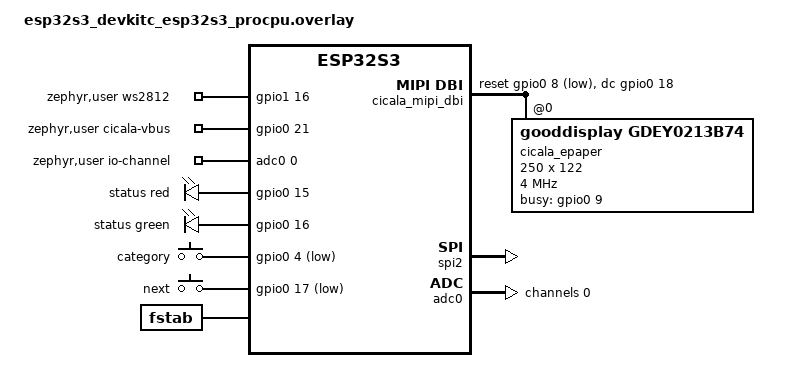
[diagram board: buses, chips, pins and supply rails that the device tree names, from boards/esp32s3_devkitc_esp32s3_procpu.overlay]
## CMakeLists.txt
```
cmake_minimum_required(VERSION 3.20.0)

find_package(Zephyr REQUIRED HINTS $ENV{ZEPHYR_BASE})
project(cicala LANGUAGES C CXX)

# The languages the image carries.
set(CICALA_CORPUS_LANGUAGES en de)

# Shared, host-testable logic.
add_subdirectory(${CMAKE_CURRENT_SOURCE_DIR}/../lib/fsm cicala_fsm)
add_subdirectory(${CMAKE_CURRENT_SOURCE_DIR}/../lib/app_fsm cicala_app_fsm)
add_subdirectory(${CMAKE_CURRENT_SOURCE_DIR}/../lib/qdb cicala_qdb)
add_subdirectory(${CMAKE_CURRENT_SOURCE_DIR}/../lib/layout cicala_layout)
add_subdirectory(${CMAKE_CURRENT_SOURCE_DIR}/../lib/retained cicala_retained)
add_subdirectory(${CMAKE_CURRENT_SOURCE_DIR}/../lib/portal cicala_portal)
add_subdirectory(${CMAKE_CURRENT_SOURCE_DIR}/../lib/ed25519 cicala_ed25519)
add_subdirectory(${CMAKE_CURRENT_SOURCE_DIR}/../lib/sync cicala_sync)
add_subdirectory(${CMAKE_CURRENT_SOURCE_DIR}/../lib/power cicala_power)
add_subdirectory(${CMAKE_CURRENT_SOURCE_DIR}/../lib/status cicala_status)

# zbus observer macros require C designated initializers.
target_sources(app PRIVATE
    src/app.c
    src/app_logic.cpp
    src/channels.c
    src/corpus.c
    src/display.c
    src/input.c
    src/language.c
    src/main.c
    src/panel.cpp
    src/retained_block.cpp
    src/update_notice.c
)

# Soak images generate their own Next presses.
target_sources_ifdef(CONFIG_CICALA_DEBUG_SOAK app PRIVATE src/soak.c)

target_sources_ifdef(CONFIG_FILE_SYSTEM_LITTLEFS app PRIVATE src/corpus_store.c)
target_sources_ifdef(CONFIG_CICALA_SLEEP app PRIVATE src/sleep.c)
target_sources_ifdef(CONFIG_CICALA_REV_A app PRIVATE src/board_power.c)
target_sources_ifdef(CONFIG_CICALA_NET app PRIVATE src/net.c src/net_logic.cpp src/portal.c)

target_sources_ifdef(CONFIG_CICALA_POWER app PRIVATE src/power.c src/power_logic.cpp)
target_sources_ifdef(CONFIG_CICALA_STATUS_LED app PRIVATE src/status.c src/status_logic.cpp)

# Bundle and firmware downloads share one HTTP client.
target_sources_ifdef(CONFIG_CICALA_SYNC app PRIVATE src/fetch.c src/sync.cpp ${CMAKE_CURRENT_SOURCE_DIR}/../../core/src/bundle.cpp)
target_sources_ifdef(CONFIG_CICALA_OTA app PRIVATE src/ota.cpp)

# HTTP_RESOURCE_DEFINE lands each resource in a section named after its service.
if(CONFIG_CICALA_NET)
  zephyr_linker_sources(SECTIONS sections-rom.ld)
  zephyr_linker_section(NAME http_resource_desc_cicala_portal KVMA RAM_REGION GROUP RODATA_REGION)
endif()

# Include the committed bundle-signing public key.
target_include_directories(app PRIVATE include ${CMAKE_CURRENT_SOURCE_DIR}/../components/sync)

# Link libraries added after Zephyr's library discovery pass.
target_link_libraries(app PRIVATE cicala_fsm cicala_app_fsm cicala_qdb cicala_layout cicala_portal cicala_ed25519
    cicala_sync cicala_retained cicala_power cicala_status)

# Compile shipped corpora into the offline fallback image.
set(shipped ${CMAKE_CURRENT_SOURCE_DIR}/../../dist/corpus)

foreach(lang ${CICALA_CORPUS_LANGUAGES})
  if(NOT EXISTS ${shipped}/${lang}.qdb)
    message(FATAL_ERROR
      "missing ${shipped}/${lang}.qdb — run `just fw-build`")
  endif()

  generate_inc_file_for_target(app
    ${shipped}/${lang}.qdb
    ${ZEPHYR_BINARY_DIR}/include/generated/${lang}_qdb.inc)
endforeach()
```

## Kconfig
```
# Application and tests share ../Kconfig.policy.

mainmenu "cicala"

rsource "../Kconfig.policy"

source "Kconfig.zephyr"
```

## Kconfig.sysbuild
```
# APP_DIR gives the application and MCUboot one absolute signing-key path.
# Define this before the upstream symbol because its first default wins.

config BOOT_SIGNATURE_KEY_FILE
	default "$(APP_DIR)/../keys/firmware-signing-dev.pem" if BOOT_SIGNATURE_TYPE_ED25519

source "share/sysbuild/Kconfig"
```

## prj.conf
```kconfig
# Base application configuration, shared by every board.

CONFIG_CPP=y
CONFIG_STD_CPP17=y
CONFIG_CPP_EXCEPTIONS=n
CONFIG_CPP_RTTI=n
CONFIG_REQUIRES_FULL_LIBCPP=n

CONFIG_LOG=y
CONFIG_LOG_MODE_DEFERRED=y
CONFIG_LOG_BUFFER_SIZE=2048

# Deferred logging measured 912 bytes against the 1024-byte default.
CONFIG_LOG_PROCESS_THREAD_STACK_SIZE=2048

CONFIG_GPIO=y
CONFIG_MAIN_STACK_SIZE=2048
CONFIG_SYSTEM_WORKQUEUE_STACK_SIZE=1536

# The bag picks a question with sys_rand32_get().
CONFIG_ENTROPY_GENERATOR=y

# cfb_framebuffer_init() calls k_malloc, and Zephyr's default heap is zero.
CONFIG_HEAP_MEM_POOL_SIZE=8192

# Fail loudly in development rather than continuing with a bad state.
CONFIG_ASSERT=y

# Why the chip started.
CONFIG_HWINFO=y

CONFIG_ZBUS=y
CONFIG_ZBUS_CHANNEL_NAME=y
CONFIG_ZBUS_MSG_SUBSCRIBER=y
CONFIG_ZBUS_MSG_SUBSCRIBER_BUF_ALLOC_STATIC=y
CONFIG_ZBUS_RUNTIME_OBSERVERS=n

# Size the static subscriber buffer for the largest channel message.
CONFIG_ZBUS_MSG_SUBSCRIBER_NET_BUF_STATIC_DATA_SIZE=144

CONFIG_INPUT=y

# Run callbacks on the driver workqueue without a dedicated input thread.
CONFIG_INPUT_MODE_SYNCHRONOUS=y

CONFIG_SPI=y
CONFIG_MIPI_DBI=y
CONFIG_DISPLAY=y
CONFIG_CHARACTER_FRAMEBUFFER=y
```

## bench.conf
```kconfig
# Bench profile network settings.

CONFIG_CICALA_SYNC_INSECURE=y
```

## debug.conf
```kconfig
# Used by the debug firmware profile.

CONFIG_DEBUG_OPTIMIZATIONS=y

# Upstream OpenOCD lacks Zephyr thread awareness for Xtensa.

CONFIG_CICALA_SLEEP=n
CONFIG_CICALA_PANEL_DEEP_SLEEP=n
```

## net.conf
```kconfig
# Wi-Fi and the setup portal. Merged by `just fw-net`, together with
# net.overlay, which adds the second Wi-Fi interface AP+STA mode needs.
#
# Off by default for the reason sleep.conf is separate: this is a large
# subsystem whose flash and RAM cost has not been measured on this board, and
# `just fw-build` should keep producing the image the panel work measures.

CONFIG_TK_NET=y

# ---------------------------------------------------------------------- wifi
# WIFI_NM is not optional here: ESP32_WIFI_AP_STA_MODE depends on it, and that
# is what lets the station and the access point exist at once.
CONFIG_WIFI=y
CONFIG_WIFI_ESP32=y
CONFIG_WIFI_NM=y
CONFIG_WIFI_USAGE_MODE_STA_AP=y

# ----------------------------------------------------------------- networking
CONFIG_NETWORKING=y
CONFIG_NET_IPV4=y
CONFIG_NET_TCP=y
CONFIG_NET_UDP=y
CONFIG_NET_SOCKETS=y
CONFIG_NET_L2_ETHERNET=y
CONFIG_NET_L2_WIFI_MGMT=y

# The station and the access point each need one.
CONFIG_NET_IF_MAX_IPV4_COUNT=2

# Nothing here speaks IPv6: the portal is one hop from a phone and sync is a
# later branch. Off saves flash and RAM on a board where both are the risk.
CONFIG_NET_IPV6=n

# ------------------------------------------------------------------ net_mgmt
CONFIG_NET_MGMT=y
CONFIG_NET_MGMT_EVENT=y

# Without this the event callback gets no `info` pointer, so a scan result
# arrives as the fact that a scan result happened.
CONFIG_NET_MGMT_EVENT_INFO=y

# Not the default 5. Events are dropped rather than queued when the queue is
# full — mgmt_push_event logs a warning and moves on — and a scan in a room
# with a dozen access points delivers one event per network in a burst.
CONFIG_NET_MGMT_EVENT_QUEUE_SIZE=16
CONFIG_NET_MGMT_EVENT_STACK_SIZE=2048

# ---------------------------------------------------------------------- dhcp
# Client for the station, server for the access point.
CONFIG_NET_DHCPV4=y
CONFIG_NET_DHCPV4_SERVER=y

# The one line the captive portal cannot work without. The default is empty,
# and the server then omits option 6 entirely: the phone keeps whatever DNS it
# had, never asks us to resolve anything, and never sees the sign-in sheet.
CONFIG_NET_DHCPV4_SERVER_OPTION_DNS_ADDRESS="192.168.4.1"

# One phone at a time is the normal case; four covers a second one joining
# before the first has finished.
CONFIG_NET_DHCPV4_SERVER_ADDR_COUNT=4

# Skip the ICMP probe before handing out a lease. It costs a second of silence
# per client on a network this device is the only router for.
CONFIG_NET_DHCPV4_SERVER_ICMP_PROBE_TIMEOUT=0

# ------------------------------------------------------------------- buffers
CONFIG_NET_PKT_RX_COUNT=16
CONFIG_NET_PKT_TX_COUNT=16
CONFIG_NET_BUF_RX_COUNT=32
CONFIG_NET_BUF_TX_COUNT=32

# The HTTP server polls one fd per service plus one per client, and the DNS
# responder holds another. The default of 3 is not enough to accept at all.
CONFIG_ZVFS_OPEN_MAX=16
CONFIG_ZVFS_POLL_MAX=16
CONFIG_ZVFS_EVENTFD_MAX=2

# ---------------------------------------------------------------------- http
CONFIG_HTTP_PARSER=y
CONFIG_HTTP_PARSER_URL=y
CONFIG_HTTP_SERVER=y

# No browser speaks h2c — HTTP/2 without TLS — so version 2 is code nothing
# reaches. Off, and MAX_STREAMS down to 1, since its array exists regardless.
CONFIG_HTTP_SERVER_VERSION_2=n
CONFIG_HTTP_SERVER_MAX_STREAMS=1

# A phone opening a captive sheet fires several probes at once.
CONFIG_HTTP_SERVER_MAX_CLIENTS=3

# Not the default 256. The form post has to arrive in one piece often enough
# that the split-body path is the exception rather than the rule.
CONFIG_HTTP_SERVER_CLIENT_BUFFER_SIZE=1024

# The catch-all that makes every captive-detection URL reach the portal.
CONFIG_HTTP_SERVER_RESOURCE_WILDCARD=y

# ------------------------------------------------------------------- storage
# Wi-Fi credentials and the chosen language, in the storage partition the
# ESP32-S3 flash map already defines. No devicetree change: settings_nvs
# targets storage_partition unless a chosen node says otherwise.
CONFIG_FLASH=y
CONFIG_FLASH_PAGE_LAYOUT=y
CONFIG_FLASH_MAP=y
CONFIG_NVS=y
CONFIG_SETTINGS=y
CONFIG_SETTINGS_NVS=y
CONFIG_WIFI_CREDENTIALS=y
CONFIG_WIFI_CREDENTIALS_BACKEND_SETTINGS=y
CONFIG_WIFI_CREDENTIALS_MAX_ENTRIES=3

# Zephyr's own "connect to a stored network" command reports success as soon as
# the *request* is accepted, tries exactly one network, and never falls back.
# src/net.c does its own loop instead.
CONFIG_WIFI_CREDENTIALS_CONNECT_STORED=n

# --------------------------------------------------------------------- stacks
# The Wi-Fi driver adds 50 KB to the heap by itself (see
# HEAP_MEM_POOL_ADD_SIZE_ESP_WIFI); this is the framebuffer's 8 KB plus room
# for the TLS the sync branch will want.
CONFIG_HEAP_MEM_POOL_SIZE=16384

# The networking stack announces itself at boot in more lines than the base
# buffer holds, and the first run dropped thirteen of them — including the ones
# saying what the radio did.
CONFIG_LOG_BUFFER_SIZE=4096
```

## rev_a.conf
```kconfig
CONFIG_CICALA_REV_A=y
CONFIG_CICALA_POWER_DIVIDER_NUM=147
CONFIG_CICALA_POWER_DIVIDER_DEN=47
CONFIG_CICALA_POWER_DIVIDER_SETTLE_MS=200
CONFIG_CICALA_POWER_SAMPLE_MS=1000
CONFIG_CICALA_PANEL_DEEP_SLEEP=y
CONFIG_SSD16XX_PRESERVE_IMAGE_HW_RESET=y
```

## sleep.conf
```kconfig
# Merged on top of prj.conf and the board .conf only by `just fw-build-sleep`,
# never by a plain fw-build. It builds into build/esp32s3-sleep/, so switching
# back to the awake image is a flash rather than a rebuild.
#
# Deep sleep is a reboot: every wake runs main() from the top and the console
# restarts with it. See src/sleep.c.

CONFIG_TK_SLEEP=y

# Zephyr's Espressif port maps PM_STATE_SOFT_OFF to esp_deep_sleep_start(), but
# the state is marked disabled in the SoC devicetree and documented as
# enterable only through pm_state_force() or sys_poweroff(). src/sleep.c calls
# sys_poweroff().
#
# PM_DEVICE is not what suspends the drivers on the way down, whatever the
# symbol's name suggests: lib/os/poweroff.c locks interrupts and calls
# z_sys_poweroff() without touching device PM at all, and ssd16xx defines no PM
# action for it to call in any case. Anything that has to be told to sleep has
# to be told explicitly — see panel_controller_sleep() in src/sleep.c. The
# symbol stays because PM_STATE handling wants it, not for the drivers.
CONFIG_PM=y
CONFIG_PM_DEVICE=y

# The panel controller is a separate chip on its own rail and sleeps only if
# asked. Off until the bench says what it saves and what the reviving reset
# costs — see CONFIG_TK_PANEL_DEEP_SLEEP in firmware/Kconfig.policy. Flip to =y
# and rebuild to take the other half of the measurement.
CONFIG_TK_PANEL_DEEP_SLEEP=n

# Light sleep is switched off in sleep.overlay rather than here: it is a
# devicetree power state, not a Kconfig symbol.

# ------------------------------------------------------------------ no radio
# The board conf turns Wi-Fi and the portal on for the everyday image. A
# measurement image wants neither: eight extra threads and a radio beside the
# panel are not what the refresh figures are supposed to describe, and a
# partial refresh has already been seen at 2769 ms during a portal session
# against the 622 ms this rig recorded without one.
CONFIG_TK_NET=n
CONFIG_WIFI=n
CONFIG_NETWORKING=n
# Not an upstream symbol — added by firmware/patches.yml, so a workspace that
# has not run `just fw-patch` builds this image without it and silently gets a
# white panel on every wake.
#
# ssd16xx clears both controller RAM buffers and drives a full update from its
# init, which on this board runs on every wake, because a wake is a reset. The
# panel was measured spending 2314 ms going white before the application's own
# refresh even began. Skipping that is what lets the retained refresh counter
# mean something: the controller keeps power through deep sleep, so its RAM
# still holds the image that is on the glass.
CONFIG_SSD16XX_PRESERVE_IMAGE_ON_INIT=y
```

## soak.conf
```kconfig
# Applied by the soak and retain firmware profiles.

CONFIG_CICALA_DEBUG_SOAK=y

# Suppress full refreshes so ghosting accumulates.
CONFIG_CICALA_FULL_REFRESH_INTERVAL=65535

CONFIG_CICALA_NET=n
CONFIG_WIFI=n
CONFIG_NETWORKING=n
```

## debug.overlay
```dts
/* Debug-session console, merged only by `just fw-build debug` alongside debug.conf. */

&usb_serial {
    status = "okay";
};

/ {
    chosen {
        zephyr,console = &usb_serial;
    };
};
```

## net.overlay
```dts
/*
 * The second Wi-Fi interface.
 *
 * The board already enables `&wifi`, which is the station. AP+STA needs a
 * second network device: the driver defines the access point as instance 1 of
 * the same compatible, so without a second node there is no AP interface and
 * `net_if_get_wifi_sap()` quietly hands back the station one instead. Nothing
 * warns — the DHCP server then binds to the wrong interface and the portal is
 * unreachable — which is why src/net.c asserts the two are not the same.
 *
 * Merged only by `just fw-net`. See app/net.conf.
 */

/ {
    wifi_ap: wifi_ap {
        compatible = "espressif,esp32-wifi";
        status = "okay";
    };
};
```

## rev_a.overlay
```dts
/* Applied after the DevKitC overlay; all unmodified signal pins are shared. */

/ {
    model = "Cicala Rev A / ESP32-S3-WROOM-1-N16";

    zephyr,user {
        /delete-property/ ws2812-gpios;
        cicala-battery-enable-gpios = <&gpio0 2 GPIO_ACTIVE_HIGH>;
        cicala-panel-power-gpios = <&gpio0 5 GPIO_ACTIVE_HIGH>;
        cicala-panel-mosi-gpios = <&gpio0 11 GPIO_ACTIVE_HIGH>;
        cicala-panel-clock-gpios = <&gpio0 12 GPIO_ACTIVE_HIGH>;
        cicala-charge-disable-gpios = <&gpio0 14 GPIO_ACTIVE_HIGH>;
        cicala-charger-status-gpios = <&gpio0 6 GPIO_ACTIVE_HIGH>,
                                     <&gpio0 7 GPIO_ACTIVE_HIGH>;
    };

    chosen {
        zephyr,console = &usb_serial;
        zephyr,shell-uart = &usb_serial;
    };
};

&usb_serial { status = "okay"; };
&usb_otg { status = "disabled"; };
&button0 { status = "disabled"; };
&cicala_epaper { rotation = <180>; };
&flash0 { reg = <0x0 DT_SIZE_M(16)>; };
&psram0 { status = "disabled"; };

/* GPIO13 is not connected to the write-only display bus on Rev A. */
&spim2_default {
    group1 {
        pinmux = <SPIM2_SCLK_GPIO12>;
    };
};
```

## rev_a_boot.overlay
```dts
/* ESP32-S3-WROOM-1-N16 has 16 MiB flash and no PSRAM. */
&flash0 { reg = <0x0 DT_SIZE_M(16)>; };
&psram0 { status = "disabled"; };
```

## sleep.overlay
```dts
/*
 * Merged only by `just fw-build-sleep`, alongside sleep.conf.
 *
 * Zephyr's ESP32-S3 devicetree offers the CPU two power states: light sleep,
 * enabled, and deep sleep, disabled and documented as enterable only through
 * pm_state_force() or sys_poweroff(). With CONFIG_PM on, the idle thread takes
 * the one it is offered — and light sleep needs an RTC counter this
 * application has no other use for, so every attempt fails and logs
 * "Sleep skipped. Make sure RTC counter driver is enabled."
 *
 * Light sleep is not what a sub-30 uA budget needs anyway. Removing the state
 * leaves the idle thread nothing to enter, and src/sleep.c decides when the
 * device sleeps for real.
 */

&light_sleep {
    status = "disabled";
};
```

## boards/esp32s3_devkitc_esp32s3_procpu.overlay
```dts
/* ESP32-S3-DevKitC-1 breadboard rig. */

#include <zephyr/dt-bindings/adc/adc.h>
#include <zephyr/dt-bindings/input/input-event-codes.h>

/ {
    aliases {
        cicala-category = &cicala_category;
        cicala-next = &cicala_next;
        cicala-led-red = &led_red;
        cicala-led-green = &led_green;
    };

    zephyr,user {
        /* The onboard addressable LED, which this firmware never drives. */
        ws2812-gpios = <&gpio1 16 GPIO_ACTIVE_HIGH>;

        /* Battery sense: the tap of a 470k/470k divider off the charger's BAT pad, with 100 nF to ground. */
        io-channels = <&adc0 0>;

        /* A 100 kΩ/150 kΩ divider puts about 3.0 V on this VBUS input. */
        cicala-vbus-gpios = <&gpio0 21 GPIO_ACTIVE_HIGH>;
    };

    /* The status LEDs, each through its own resistor to ground. */
    cicala_leds: cicala-leds {
        compatible = "gpio-leds";
        led_red: red {
            gpios = <&gpio0 15 GPIO_ACTIVE_HIGH>;
            label = "status red";
        };
        led_green: green {
            gpios = <&gpio0 16 GPIO_ACTIVE_HIGH>;
            label = "status green";
        };
    };

    /* The two buttons. */
    cicala_buttons: cicala-buttons {
        compatible = "gpio-keys";
        debounce-interval-ms = <30>;
        cicala_category: category {
            gpios = <&gpio0 4 (GPIO_ACTIVE_LOW | GPIO_PULL_UP)>;
            zephyr,code = <INPUT_KEY_MENU>;
            label = "category";
        };
        cicala_next: next {
            gpios = <&gpio0 17 (GPIO_ACTIVE_LOW | GPIO_PULL_UP)>;
            zephyr,code = <INPUT_KEY_ENTER>;
            label = "next";
        };
    };
};

/* Waveshare 2.13 inch e-Paper HAT — 250 x 122, SSD1680 controller. */
&spi2 {
    status = "okay";
    pinctrl-0 = <&spim2_default>;
    pinctrl-names = "default";
    cs-gpios = <&gpio0 10 GPIO_ACTIVE_LOW>;
};

/ {
    cicala_mipi_dbi: mipi-dbi {
        compatible = "zephyr,mipi-dbi-spi";
        spi-dev = <&spi2>;
        dc-gpios = <&gpio0 18 GPIO_ACTIVE_HIGH>;
        /* Not 19 and 20: those are native USB D-/D+. */
        reset-gpios = <&gpio0 8 GPIO_ACTIVE_LOW>;
        #address-cells = <1>;
        #size-cells = <0>;
        status = "okay";

        cicala_epaper: ssd16xxfb@0 {
            compatible = "gooddisplay,gdey0213b74", "solomon,ssd1680";
            reg = <0>;
            mipi-max-frequency = <4000000>;
            width = <250>;
            height = <122>;
            busy-gpios = <&gpio0 9 GPIO_ACTIVE_HIGH>;
            tssv = <0x80>;
            status = "okay";

            full {
                border-waveform = <0x05>;
            };

            partial {
                border-waveform = <0x3c>;
            };
        };
    };

    chosen {
        zephyr,display = &cicala_epaper;
    };
};

/* The second Wi-Fi interface. */
/ {
    wifi_ap: wifi_ap {
        compatible = "espressif,esp32-wifi";
        status = "okay";
    };
};
/* sys_poweroff() enters the disabled deep-sleep state directly. */

&light_sleep {
    status = "disabled";
};

/* Battery sense. */
&adc0 {
    status = "okay";
    #address-cells = <1>;
    #size-cells = <0>;

    channel@0 {
        reg = <0>;
        zephyr,gain = "ADC_GAIN_1_4";
        zephyr,reference = "ADC_REF_INTERNAL";
        zephyr,acquisition-time = <ADC_ACQ_TIME_DEFAULT>;
        zephyr,resolution = <12>;
    };
};

/* Where a synced corpus lives. */
&flash0 {
    partitions {
        cicala_corpus_partition: partition@400000 {
            label = "corpus";
            reg = <0x400000 DT_SIZE_K(512)>;
        };
    };
};

/ {
    fstab {
        compatible = "zephyr,fstab";

        cicala_corpus_fs: cicala_corpus_fs {
            compatible = "zephyr,fstab,littlefs";
            mount-point = "/corpus";
            partition = <&cicala_corpus_partition>;
            automount;
            read-size = <16>;
            prog-size = <16>;
            cache-size = <64>;
            lookahead-size = <32>;
            block-cycles = <512>;
        };
    };
};
```

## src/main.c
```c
#include <zephyr/drivers/gpio.h>
#include <zephyr/drivers/hwinfo.h>
#include <zephyr/init.h>
#include <zephyr/kernel.h>
#include <zephyr/logging/log.h>
#include <zephyr/zbus/zbus.h>

#include "channels.h"
#include "input.h"
#include "update_notice.h"

LOG_MODULE_REGISTER(cicala_main, LOG_LEVEL_INF);

#ifdef CONFIG_SETTINGS

#include <zephyr/settings/settings.h>

/* Read the `cicala` subtree back out of NVS. */
static int load_settings(void)
{
    int err = settings_subsys_init();

    if (err != 0) {
        LOG_ERR("settings init failed: %d", err);

        return 0;
    }

    err = settings_load();

    if (err != 0) {
        LOG_ERR("settings load failed: %d", err);
    }

    /* Missing settings leaves defaults intact. */
    return 0;
}

SYS_INIT(load_settings, APPLICATION, CONFIG_APPLICATION_INIT_PRIORITY);

#endif /* CONFIG_SETTINGS */

static void log_reset_cause(void)
{
    uint32_t cause = 0;

    if (hwinfo_get_reset_cause(&cause) != 0) {
        LOG_INF("reset: cause not available on this target");
        return;
    }

    /* Clear accumulated reset causes after reading them. */
    (void) hwinfo_clear_reset_cause();

    if (cause == 0) {
        LOG_INF("reset: none reported");
    } else if (cause & RESET_POR) {
        LOG_INF("reset: power-on — RTC memory is not expected to survive this");
    } else if (cause & RESET_LOW_POWER_WAKE) {
        LOG_INF("reset: low-power wake");
    } else if (cause & RESET_SOFTWARE) {
        LOG_INF("reset: software");
    } else if (cause & RESET_PIN) {
        LOG_INF("reset: pin");
    } else if (cause & RESET_BROWNOUT) {
        LOG_WRN("reset: brownout");
    } else if (cause & RESET_WATCHDOG) {
        LOG_WRN("reset: watchdog");
    } else {
        LOG_INF("reset: cause 0x%08x", cause);
    }
}

/* Hold the DevKitC's onboard WS2812 data line low. */
static void hold_onboard_led_quiet(void)
{
    /* _OR: only the devkit overlay has this LED. */
    static const struct gpio_dt_spec ws2812 =
        GPIO_DT_SPEC_GET_OR(DT_PATH(zephyr_user), ws2812_gpios, {0});

    if (ws2812.port != NULL && gpio_is_ready_dt(&ws2812)) {
        (void) gpio_pin_configure_dt(&ws2812, GPIO_OUTPUT_INACTIVE);
    }
}

int main(void)
{
    LOG_INF("cicala on %s", CONFIG_BOARD_TARGET);

    log_reset_cause();
    hold_onboard_led_quiet();

    const int ret = cicala_input_init();

    if (ret != 0) {
        LOG_ERR("input init failed: %d", ret);
        return ret;
    }

    /* Publishing a notice requires the app thread to be running. */
    cicala_update_notice_check();

    return 0;
}
```

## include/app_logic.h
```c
/** C face of the state machine and the question store. */

#pragma once

#include <stdbool.h>
#include <stddef.h>
#include <stdint.h>

#ifdef __cplusplus
extern "C" {
#endif

/** Open the selected corpus and bind the bag. Return 0 or `-EINVAL`. */
int cicala_app_init(void);

/** One Filters press happened: open the menu or move to its next row. */
void cicala_app_post_filters(void);

/** One Next press happened. */
void cicala_app_post_next(void);

/** Post a render result; stale sequence numbers are ignored. */
void cicala_app_post_render(bool ok, uint32_t seq);

/** Copy a setup-portal card into the state machine. */
void cicala_app_post_service(const char *text, uint16_t len);

/** Reopen the selected corpus without changing the current panel. */
void cicala_app_reload_corpus(void);

/** Tick the state machine until it stops moving. */
void cicala_app_run(void);

/** True when the current state has a timeout that has to be honoured. */
bool cicala_app_needs_timeout(void);

/** Copy the NUL-terminated corpus version and return its question count. */
void cicala_app_corpus(char *version, size_t version_size, uint16_t *count);

/** Current state, as an AppFsm::State value. */
int cicala_app_state(void);

/** True while the panel is refreshing and input will be dropped. */
bool cicala_app_is_busy(void);

/** True when the app can safely enter deep sleep. */
bool cicala_app_is_settled(void);

#ifdef __cplusplus
}
#endif
```

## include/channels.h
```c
/** zbus channels: the contract between the workqueue, `app`, and everything that renders. */

#pragma once

#include <stdbool.h>
#include <stdint.h>

#include <zephyr/zbus/zbus.h>

#ifdef __cplusplus
extern "C" {
#endif

/** Event channel: one Filters press happened. */
struct cicala_filters_msg {
    /** Uptime at the moment the press started. */
    int64_t timestamp_ms;
    /** Press-to-release duration in milliseconds; telemetry only. */
    uint32_t duration_ms;
};

/** Event channel: one Next press happened. */
struct cicala_next_msg {
    /** Uptime at the moment the press started. */
    int64_t timestamp_ms;
    /** Press-to-release duration in milliseconds; telemetry only. */
    uint32_t duration_ms;
};

/** What a card on the panel is. */
enum cicala_card {
    /** Something drawn from the corpus. */
    CICALA_CARD_QUESTION = 0,
    /** The four-row Filters menu. */
    CICALA_CARD_FILTERS,
    /** The setup portal, saying which network to join and how it went. */
    CICALA_CARD_SERVICE,
    CICALA_CARD_EMPTY,
};

/** State channel. Text is copied so corpus replacement cannot invalidate it. */
struct cicala_question_msg {
    /** Increments per draw, so a stale render can be told from a current one. */
    uint32_t seq;
    uint8_t permissions;
    uint8_t cursor;
    /** One of `enum cicala_card`, stored as a byte. */
    uint8_t kind;
    uint16_t len;
    char text[CONFIG_CICALA_MAX_QUESTION_BYTES];
};

/** Event channel. App converts this to a sequenced `chan_question` card. */
struct cicala_service_msg {
    uint16_t len;
    char text[CONFIG_CICALA_MAX_QUESTION_BYTES];
};

/** Event channel. The new corpus applies on the next draw without a refresh. */
struct cicala_corpus_msg {
    /** Two-letter code, NUL-terminated. */
    char language[4];
};

/** Event channel: the display finished with the question it was given. */
struct cicala_render_msg {
    /** The `seq` of the question this refers to. */
    uint32_t seq;
    /** 0, or a negative errno from the panel. */
    int result;
    /** True when this was a full refresh rather than a partial one. */
    bool was_full;
};

/** Where power stands. */
enum cicala_power_state {
    /** No plausible reading. Refreshes remain allowed. */
    CICALA_POWER_UNKNOWN = 0,
    /** On the cell, above the refresh floor. */
    CICALA_POWER_NORMAL,
    /** On the cell, under CONFIG_CICALA_REFRESH_MIN_MV. Refreshes are refused. */
    CICALA_POWER_LOW,
    /** On the cell, nearly flat. Refreshes are refused. */
    CICALA_POWER_CRITICAL,
    /** External power is in. */
    CICALA_POWER_CHARGING,
    /** External power is in and the cell reads above the full estimate. */
    CICALA_POWER_CHARGED,
    /** USB present; charger idle/disabled, or its status cannot be read. */
    CICALA_POWER_EXTERNAL_IDLE,
    /** The charger reports a fault; VBUS can still power the system. */
    CICALA_POWER_CHARGE_FAULT,
};

/** State channel for status consumers. Sleep queries power directly. */
struct cicala_power_msg {
    /** At the pack, with the divider undone. */
    uint16_t mv;
    /** One of `enum cicala_power_state`, stored as a byte. */
    uint8_t state;
    /** VBUS. */
    bool usb;
    /** One of enum cicala_charger_status; independent of pack-voltage estimate. */
    uint8_t charger;
};

ZBUS_CHAN_DECLARE(chan_filters);
ZBUS_CHAN_DECLARE(chan_next);
ZBUS_CHAN_DECLARE(chan_question);
ZBUS_CHAN_DECLARE(chan_service);
ZBUS_CHAN_DECLARE(chan_corpus);
ZBUS_CHAN_DECLARE(chan_render);
ZBUS_CHAN_DECLARE(chan_power);

/** Card name for logs, or `?` when out of range. */
const char *cicala_card_name(uint8_t kind);

/** Power-state name for logs, or `?` when out of range. */
const char *cicala_power_name(uint8_t state);

#ifdef __cplusplus
}
#endif
```

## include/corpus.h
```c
/** The question corpora compiled into this image. */

#pragma once

#include <stddef.h>
#include <stdint.h>

#ifdef __cplusplus
extern "C" {
#endif

/** How many languages this image carries. */
size_t cicala_corpus_count(void);

/** The two-letter code of corpus `index`, or NULL past the end. */
const char *cicala_corpus_language(size_t index);

/** Return corpus `index` and write its size, or return NULL past the end. */
const uint8_t *cicala_corpus_data(size_t index, size_t *size);

/** The index of `code`, or -1 when the image does not carry it. */
int cicala_corpus_find(const char *code);

/** Where a synced corpus is kept, and what one is called. */
#define CICALA_CORPUS_DIR "/corpus"

/** Room for a release version, as it appears in a manifest. */
#define CICALA_CORPUS_VERSION_LEN 32

/** The release version of the installed corpus, or an empty string. */
const char *cicala_corpus_version(void);

/** Record the installed release. Return 0 or a negative errno. */
int cicala_corpus_version_set(const char *version);

#ifdef CONFIG_FILE_SYSTEM_LITTLEFS

/** Read a synced corpus into the shared buffer, or return NULL. */
const uint8_t *cicala_corpus_stored(const char *code, size_t *size);

/** Replace the stored corpus through a staging rename. Return 0 or errno. */
int cicala_corpus_store(const char *code, const uint8_t *data, size_t size);

/** Borrow the shared corpus/download buffer and return its capacity. */
uint8_t *cicala_corpus_buffer(size_t *capacity);

#else

/** No filesystem in this image, so the compiled-in corpus is the only one. */
static inline const uint8_t *cicala_corpus_stored(const char *code, size_t *size)
{
    (void) code;
    (void) size;

    return NULL;
}

#endif /* CONFIG_FILE_SYSTEM_LITTLEFS */

#ifdef __cplusplus
}
#endif
```

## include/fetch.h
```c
/** One HTTP GET, and somewhere to put what comes back. */

#ifndef CICALA_FETCH_H
#define CICALA_FETCH_H

#include <stdbool.h>
#include <stddef.h>
#include <stdint.h>

#ifdef __cplusplus
extern "C" {
#endif

/** Body sink. A negative callback result aborts the transfer. */
struct cicala_fetch_sink {
    int (*write)(void *ctx, const uint8_t *data, size_t len);
    void *ctx;
};

/** Manifest and question-bundle timeout in milliseconds. */
#define CICALA_FETCH_TIMEOUT_MS 15000

/** Firmware-image timeout in milliseconds. */
#define CICALA_FETCH_IMAGE_TIMEOUT_MS 300000

/** GET `path`; return body bytes written or a negative errno. */
int cicala_fetch(const char *path, const struct cicala_fetch_sink *sink, int32_t timeout_ms);

/** Return the path inside an absolute URL, or the input when already relative. */
const char *cicala_fetch_path_of(const char *url);

/** A sink that fills a fixed buffer and refuses to overrun it. */
struct cicala_fetch_mem {
    uint8_t *buf;
    size_t capacity;
    size_t len;
    bool overflowed;
};

/** Append to `cicala_fetch_mem`, returning `-EFBIG` on overflow. */
int cicala_fetch_mem_write(void *ctx, const uint8_t *data, size_t len);

#ifdef __cplusplus
}
#endif

#endif /* CICALA_FETCH_H */
```

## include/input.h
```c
/** The Category and Next buttons. */

#pragma once

#ifdef __cplusplus
extern "C" {
#endif

/** Check both buttons are present and start reporting. */
int cicala_input_init(void);

#ifdef __cplusplus
}
#endif
```

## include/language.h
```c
/** Which language the device asks its questions in. */

#pragma once

#include <stdbool.h>

#ifdef __cplusplus
extern "C" {
#endif

/** Two letters and a NUL. */
#define CICALA_LANGUAGE_LEN 3

/** The language in use, as a two-letter code. */
const char *cicala_language(void);

/** Remember `code` as the language to ask questions in. */
int cicala_language_set(const char *code);

/** True when `code` names a corpus compiled into this image. */
bool cicala_language_available(const char *code);

#ifdef __cplusplus
}
#endif
```

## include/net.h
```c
/** What the rest of the firmware needs to know about `net`. */

#pragma once

#include <stdbool.h>
#include <stdint.h>

#ifdef __cplusplus
extern "C" {
#endif

#ifdef CONFIG_CICALA_NET

/** True while anything is on air. */
bool cicala_net_is_active(void);

/** The form was posted and the credentials are stored. */
void cicala_net_notify_credentials(void);

/** Somebody pressed "sync now" in the portal. */
void cicala_net_notify_sync(void);

#else

/** No radio in this image, so nothing is ever on air. */
static inline bool cicala_net_is_active(void)
{
    return false;
}

#endif /* CONFIG_CICALA_NET */

#ifdef __cplusplus
}
#endif
```

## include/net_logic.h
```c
/** C face of the portal's state machine, and of the C++ that renders its pages. */

#pragma once

#include <stdbool.h>
#include <stddef.h>
#include <stdint.h>

#include "portal.h"

#ifdef __cplusplus
extern "C" {
#endif

/** WPA2 passphrases run to 63 characters, or 64 hex digits for a raw PSK. */
#define CICALA_PSK_MAX 65

/** Classic DNS over UDP, before EDNS0 raises it. */
#define CICALA_DNS_BUF_SIZE 512

/** ------------------------------------------------------------- the machine */

/** Enter the portal. */
void cicala_net_post_start(void);

/** Leave it, from wherever it is. */
void cicala_net_post_stop(void);

void cicala_net_post_scan_done(void);
void cicala_net_post_ap_ready(bool ok);
void cicala_net_post_credentials(void);
void cicala_net_post_connected(bool ok);

/** Tick the machine until it stops moving. */
void cicala_net_run(void);

/** Current state, as a PortalFsm::State value. */
int cicala_net_state(void);

/** True while the portal machine is anywhere but OFF. */
bool cicala_net_portal_active(void);

/** -------------------------------------------------------------- the pages */

/** Render the setup page into `out`. */
int cicala_page_setup(char *out, size_t out_size, const struct cicala_scan_entry *nets,
                      uint8_t count, const char *language);

int cicala_page_saved(char *out, size_t out_size, const char *ssid);

int cicala_page_notice(char *out, size_t out_size, const char *heading, const char *body);

int cicala_page_forget_confirm(char *out, size_t out_size);

int cicala_page_status(char *out, size_t out_size, const char *ap_ssid, const char *saved_ssid,
                       bool connected, const char *station_ip, const char *connection_error,
                       const char *sync_result, uint32_t window_remaining_s);

/** --------------------------------------------------------------- the wire */

/** Read one field out of a posted form body. */
int cicala_form_field(const char *body, uint16_t len, const char *key, char *out,
                      uint16_t out_size);

/** Answer a DNS query with the portal's own address. */
uint16_t cicala_dns_hijack(const uint8_t *query, uint16_t len, uint32_t addr, uint8_t *out,
                           uint16_t out_size);

#ifdef __cplusplus
}
#endif
```

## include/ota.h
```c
/** Firmware updates over the air. */

#ifndef CICALA_OTA_H
#define CICALA_OTA_H

#include <stddef.h>

#ifdef __cplusplus
extern "C" {
#endif

enum cicala_ota_result {
    /** An image is in the spare slot, verified and marked for install. */
    CICALA_OTA_STAGED,
    /** The manifest offers nothing newer than what is running. */
    CICALA_OTA_CURRENT,
    /** Nothing was installed, and the running image is untouched. */
    CICALA_OTA_FAILED,
};

/** Check for a newer firmware release, and stage it if there is one. */
enum cicala_ota_result cicala_ota_run(char *version, size_t version_size);

/** The version of the image that is running, from the VERSION file. */
const char *cicala_ota_running_version(void);

#ifdef __cplusplus
}
#endif

#endif /* CICALA_OTA_H */
```

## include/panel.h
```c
/** The e-paper panel. */

#pragma once

#include <stdbool.h>
#include <stdint.h>

#ifdef __cplusplus
extern "C" {
#endif

/** Bind the display and reset the refresh policy. */
int cicala_panel_init(void);

/** Draw `text`; return 0 or a negative errno after the panel finishes. */
int cicala_panel_render(const char *text, uint16_t len);

struct cicala_question_msg;
/** Render a question with its permissions, a Filters menu, or a service card. */
int cicala_panel_render_card(const struct cicala_question_msg *card);

/** Partial refreshes since the last full one. */
uint16_t cicala_panel_partial_count(void);

/** True when the next render will be a full refresh. */
bool cicala_panel_next_is_full(void);

/** Cell height of the font the last render chose, or 0 before the first one. */
uint8_t cicala_panel_last_font_height(void);

#ifdef __cplusplus
}
#endif
```

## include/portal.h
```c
/** The radio and the sockets, behind the six things the state machine can ask for. */

#pragma once

#include <stdbool.h>
#include <stddef.h>
#include <stdint.h>

#ifdef __cplusplus
extern "C" {
#endif

/** IEEE 802.11 caps an SSID at 32 bytes; the NUL makes 33. */
#define CICALA_SSID_MAX 33

/** One network in earshot, as the setup page shows it. */
struct cicala_scan_entry {
    char ssid[CICALA_SSID_MAX];
    int8_t rssi;
    bool secure;
};

/** Find the two interfaces and build this device's access point name. */
int cicala_portal_init(void);

/** The name this device's setup network announces. */
const char *cicala_portal_ap_ssid(void);

/** The password for this portal session's setup network. */
const char *cicala_portal_ap_password(void);

/** Begin a scan on the station interface. */
bool cicala_portal_scan_start(void);

/** Take one scan result. */
void cicala_portal_scan_add(const char *ssid, uint8_t len, int8_t rssi, bool secure);

/** Forget the previous session's results. */
void cicala_portal_scan_reset(void);

/** Raise the SoftAP. */
bool cicala_portal_ap_start(void);

/** Give the access point its address, a DHCP server, DNS and HTTP. */
bool cicala_portal_serve_start(void);

/** Try the credentials the form left in the store. */
bool cicala_portal_connect_start(void);

/** Stop serving and take the access point down. */
void cicala_portal_teardown(void);

/** Join a network already in the credential store, at boot. */
bool cicala_portal_connect_stored(void);

/** True once the station has an address. */
bool cicala_portal_station_connected(void);

/** Remember that the station joined, or dropped. */
void cicala_portal_set_station_connected(bool connected);

/** Remember why the last station connection failed. */
void cicala_portal_set_connection_error(int error);

/** Clear the last station connection error after a new attempt starts. */
void cicala_portal_clear_connection_error(void);

/** Copy the last station connection error into a caller-owned buffer. */
void cicala_portal_copy_connection_error(char *out, size_t out_size);

/** Copy the last sync result into a caller-owned buffer. */
void cicala_portal_copy_sync_result(char *out, size_t out_size);

/** Remember the result shown after a user-requested sync. */
void cicala_portal_set_sync_result(const char *result);

/** Seconds until the portal's hard deadline, rounded up. */
uint32_t cicala_portal_window_remaining_s(void);

/** Forget every saved Wi-Fi network. Return zero on success. */
int cicala_portal_forget_credentials(void);

#ifdef __cplusplus
}
#endif
```

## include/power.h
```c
/** What the rest of the firmware needs to know about `power`. */

#pragma once

#include <stdbool.h>
#include <stdint.h>

#ifdef __cplusplus
extern "C" {
#endif

#ifdef CONFIG_CICALA_POWER

/** True unless the cell is under CONFIG_CICALA_REFRESH_MIN_MV. */
bool cicala_power_refresh_allowed(void);

/** The last reading in millivolts at the pack, or 0 before there is one. */
uint16_t cicala_power_millivolts(void);

/** True whenever VBUS is present. */
bool cicala_power_external(void);

/** True while a plug-in still has sync and update time left on it. */
bool cicala_power_charge_window_open(void);

/** Finish any ADC burst and disable its switch before GPIO sleep holds. */
void cicala_power_prepare_sleep(void);

#else

static inline bool cicala_power_refresh_allowed(void)
{
    return true;
}

static inline uint16_t cicala_power_millivolts(void)
{
    return 0;
}

static inline bool cicala_power_external(void)
{
    return false;
}

static inline bool cicala_power_charge_window_open(void)
{
    return false;
}

static inline void cicala_power_prepare_sleep(void) {}

#endif /* CONFIG_CICALA_POWER */

#ifdef __cplusplus
}
#endif
```
